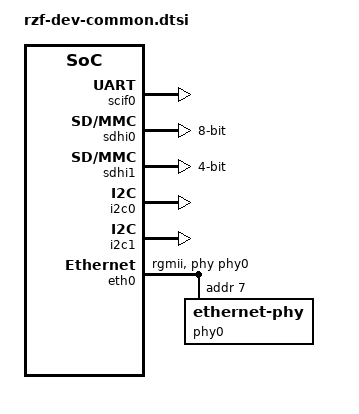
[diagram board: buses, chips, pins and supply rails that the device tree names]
// SPDX-License-Identifier: GPL-2.0
/*
 * Device Tree Source for common parts of rzv-dev board
 *
 * Copyright (C) 2022 Renesas Electronics Corp.
 */
#include <dt-bindings/pinctrl/rzg2l-pinctrl.h>

&pinctrl {
	eth0_pins: eth0 {
		pinmux = <RZG2L_PINMUX(1, 0, 1)>,
				<RZG2L_PINMUX(1, 1, 1)>,
				<RZG2L_PINMUX(1, 2, 1)>,
				<RZG2L_PINMUX(1, 3, 1)>,
				<RZG2L_PINMUX(1, 4, 1)>,
				<RZG2L_PINMUX(2, 0, 1)>,
				<RZG2L_PINMUX(3, 0, 1)>,
				<RZG2L_PINMUX(3, 1, 1)>,
				<RZG2L_PINMUX(3, 2, 1)>,
				<RZG2L_PINMUX(3, 3, 1)>,
				<RZG2L_PINMUX(4, 0, 1)>,
				<RZG2L_PINMUX(4, 1, 1)>,
				<RZG2L_PINMUX(4, 3, 1)>,
				<RZG2L_PINMUX(4, 4, 1)>,
				<RZG2L_PINMUX(4, 5, 1)>;
	};
};

&xinclk {
        clock-frequency = <24000000>;
};

&scif0 {
	status = "okay";
	clock = <100000000>;
};

&sdhi0 {
	bus-width = <8>;
	status = "okay";
};

&sdhi1 {
	bus-width = <4>;
	status = "okay";
};

&i2c0 {
	status = "okay";
};

&i2c1 {
	status = "okay";
};

&eth0 {
	pinctrl-names = "default";
	pinctrl-0 = <&eth0_pins>;
	phy-handle = <&phy0>;
	phy-mode = "rgmii";
	status = "okay";

	phy0: ethernet-phy@7 {
		reg = <7>;
	};
};
